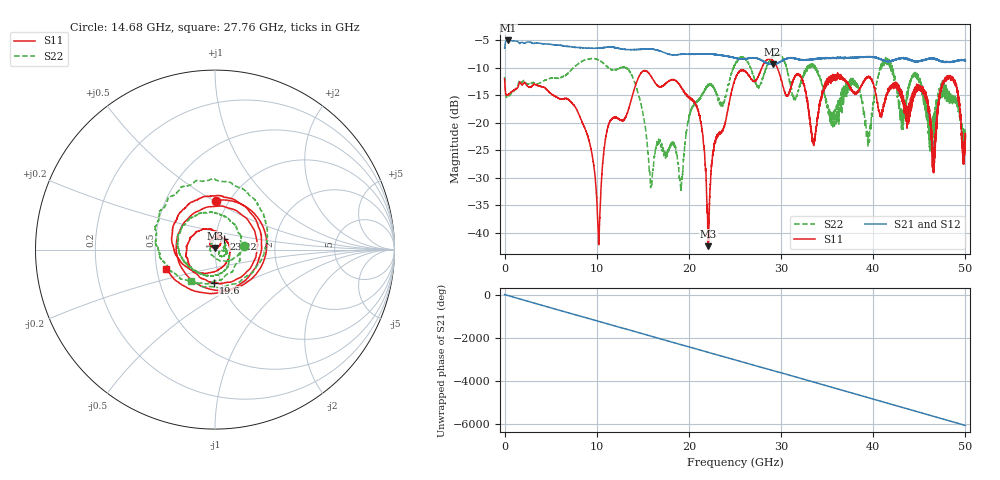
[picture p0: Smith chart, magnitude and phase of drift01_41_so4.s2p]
!Created with skrf (http://scikit-rf.org).
# Hz S RI R 50.0
!freq ReS11 ImS11 ReS21 ImS21 ReS12 ImS12 ReS22 ImS22
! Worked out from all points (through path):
!   10001 points, 300 kHz to 50 GHz, reference 50 ohm
!   highest |S21| = -5.05 dB at 410.3 MHz (marker M1); lowest = -9.4 dB at 29.07 GHz (marker M2)
!   group delay of S21, straight-line fit = 336 ps
!   lowest |S11| = -42.4 dB at 22.09 GHz (marker M3), VSWR 1.02, Z = 49.9 + j0.751 ohm
!   |S11| at or under -10 dB: start of sweep to 27.91 GHz; 29.58936 GHz to 29.59957 GHz (10.21 MHz wide, 0.0345 % of centre); 29.6 GHz to end of sweep
!   |S22| runs from -32.4 to -7.5 dB; largest |S21 - S12| = 0.013
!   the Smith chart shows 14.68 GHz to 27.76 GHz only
!   S11 on the Smith chart (normalised r, x): 14.68 GHz: 0.87, +0.51; 19.6 GHz: 0.92, -0.35; 23.22 GHz: 1.09, +0.13; 27.76 GHz: 0.56, -0.13
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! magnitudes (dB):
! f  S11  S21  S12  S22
! 300 kHz  -12.0  -6.5  -6.5  -11.7
! 410.3 MHz  -14.8  -5.1  -5.1  -15.1
! 8.335 GHz  -19.5  -6.4  -6.4  -8.9
! 10.2 GHz  -41.2  -6.4  -6.4  -8.6
! 11.23 GHz  -20.6  -6.2  -6.3  -10.0
! 14.68 GHz  -11.3  -6.7  -6.6  -15.8
! 15.88 GHz  -11.5  -6.6  -6.6  -31.1
! 16.67 GHz  -13.4  -6.9  -6.9  -23.2
! 19.6 GHz  -14.7  -7.5  -7.5  -23.5
! 21.2 GHz  -19.0  -7.5  -7.5  -15.6
! 22.09 GHz  -42.4  -7.5  -7.5  -13.3
! 23.22 GHz  -22.1  -7.7  -7.7  -15.7
! 25 GHz  -12.1  -8.3  -8.3  -9.5
! 27.76 GHz  -10.6  -8.6  -8.6  -13.2
! 29.07 GHz  -8.6  -9.4  -9.4  -8.0
! 33.34 GHz  -22.8  -8.5  -8.4  -9.6
! 39.47 GHz  -11.6  -8.1  -8.0  -22.4
! 41.67 GHz  -13.9  -8.8  -8.7  -8.8
! 45.47 GHz  -14.1  -8.5  -8.6  -16.3
! 46.55 GHz  -26.7  -8.4  -8.3  -20.7
! 48.52 GHz  -11.6  -8.9  -9.0  -15.0
! 50 GHz  -23.0  -8.7  -8.7  -23.4
